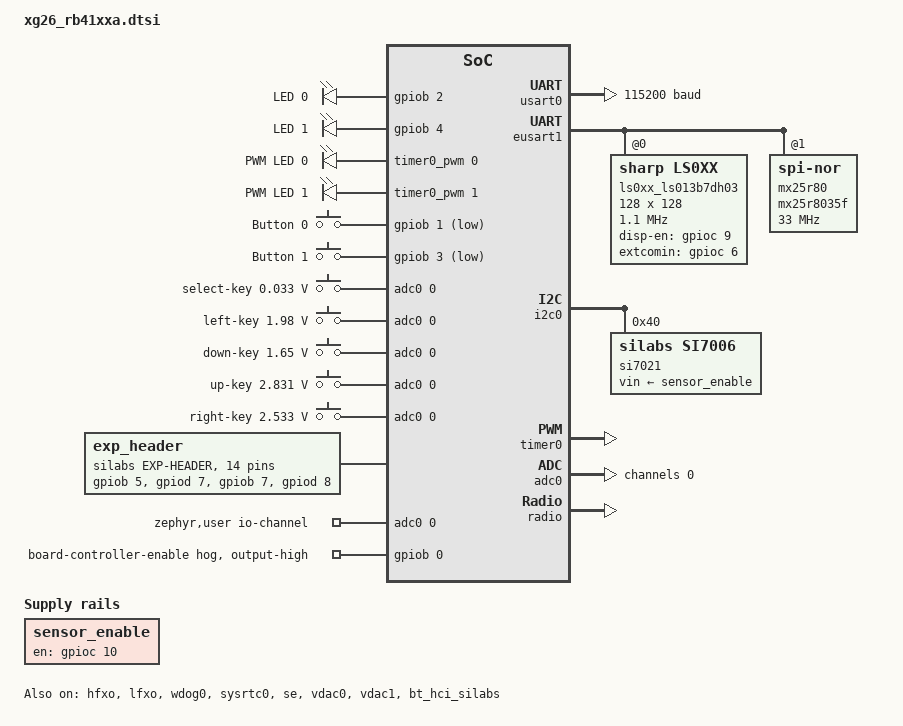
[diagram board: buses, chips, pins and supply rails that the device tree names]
/*
 * Copyright (c) 2025 Silicon Laboratories Inc.
 *
 * SPDX-License-Identifier: Apache-2.0
 */

#include <zephyr/dt-bindings/adc/silabs-adc.h>
#include <zephyr/dt-bindings/input/input-event-codes.h>
#include <zephyr/dt-bindings/pwm/pwm.h>
#include <zephyr/dt-bindings/regulator/silabs_dcdc.h>
#include "xg26_rb41xxa-pinctrl.dtsi"

/ {
	chosen {
		zephyr,bt-hci = &bt_hci_silabs;
		zephyr,code-partition = &slot0_partition;
		zephyr,console = &usart0;
		zephyr,display = &ls0xx_ls013b7dh03;
		zephyr,flash = &flash0;
		zephyr,shell-uart = &usart0;
		zephyr,sram = &sram0;
		zephyr,uart-pipe = &usart0;
	};

	aliases {
		dht0 = &si7021;
		led0 = &led0;
		led1 = &led1;
		pwm-led0 = &pwm_led0;
		pwm-led1 = &pwm_led1;
		spi-flash0 = &mx25r80;
		sw0 = &button0;
		sw1 = &button1;
		watchdog0 = &wdog0;
	};

	leds {
		compatible = "gpio-leds";

		led0: led_0 {
			gpios = <&gpiob 2 GPIO_ACTIVE_HIGH>;
			label = "LED 0";
		};

		led1: led_1 {
			gpios = <&gpiob 4 GPIO_ACTIVE_HIGH>;
			label = "LED 1";
		};
	};

	pwmleds {
		compatible = "pwm-leds";

		pwm_led0: pwm_led_0 {
			pwms = <&timer0_pwm 0 PWM_MSEC(20) PWM_POLARITY_NORMAL>;
			label = "PWM LED 0";
		};

		pwm_led1: pwm_led_1 {
			pwms = <&timer0_pwm 1 PWM_MSEC(20) PWM_POLARITY_NORMAL>;
			label = "PWM LED 1";
		};
	};

	buttons {
		compatible = "gpio-keys";

		button0: button_0 {
			gpios = <&gpiob 1 GPIO_ACTIVE_LOW>;
			label = "Button 0";
			zephyr,code = <INPUT_KEY_0>;
		};

		button1: button_1 {
			gpios = <&gpiob 3 GPIO_ACTIVE_LOW>;
			label = "Button 1";
			zephyr,code = <INPUT_KEY_1>;
		};
	};

	joystick {
		compatible = "adc-keys";
		io-channels = <&adc0 0>;
		keyup-threshold-mv = <3300>;

		select-key {
			press-thresholds-mv = <33>;
			zephyr,code = <INPUT_KEY_ENTER>;
		};

		left-key {
			press-thresholds-mv = <1980>;
			zephyr,code = <INPUT_KEY_LEFT>;
		};

		down-key {
			press-thresholds-mv = <1650>;
			zephyr,code = <INPUT_KEY_DOWN>;
		};

		up-key {
			press-thresholds-mv = <2831>;
			zephyr,code = <INPUT_KEY_UP>;
		};

		right-key {
			press-thresholds-mv = <2533>;
			zephyr,code = <INPUT_KEY_RIGHT>;
		};
	};

	sensor_enable: sensor_enable {
		compatible = "regulator-fixed";
		enable-gpios = <&gpioc 10 GPIO_ACTIVE_HIGH>;
		regulator-name = "sensor_enable";
	};

	exp_header: exp-header {
		compatible = "silabs,exp-header";
		#gpio-cells = <2>;
		gpio-map = <3 0 &gpiob 5 0>,
			   <4 0 &gpiod 7 0>,
			   <5 0 &gpiob 7 0>,
			   <6 0 &gpiod 8 0>,
			   <7 0 &gpiob 6 0>,
			   <8 0 &gpiod 9 0>,
			   <9 0 &gpiob 8 0>,
			   <10 0 &gpiod 10 0>,
			   <11 0 &gpiod 2 0>,
			   <12 0 &gpioc 12 0>,
			   <13 0 &gpiod 3 0>,
			   <14 0 &gpioc 13 0>,
			   <15 0 &gpioc 5 0>,
			   <16 0 &gpioc 7 0>;
		gpio-map-mask = <0xffffffff 0x0>;
		gpio-map-pass-thru = <0x0 GPIO_DT_FLAGS_MASK>;
	};

	zephyr,user {
		io-channels = <&adc0 0>;
	};
};

&cpu0 {
	clock-frequency = <DT_FREQ_M(78)>;
};

&itm {
	pinctrl-0 = <&itm_default>;
	pinctrl-names = "default";
	swo-ref-frequency = <DT_FREQ_M(78)>;
};

&hfxo {
	ctune = <140>;
	precision = <50>;
	status = "okay";
};

&lfxo {
	ctune = <63>;
	precision = <50>;
	status = "okay";
};

&hfrcodpll {
	clock-frequency = <DT_FREQ_M(78)>;
	clocks = <&hfxo>;
	dpll-autorecover;
	dpll-edge = "fall";
	dpll-lock = "phase";
	dpll-m = <1919>;
	dpll-n = <3839>;
};

&em23grpaclk {
	clocks = <&lfxo>;
};

&em4grpaclk {
	clocks = <&lfxo>;
};

&sysrtcclk {
	clocks = <&lfxo>;
};

&wdog0clk {
	clocks = <&lfxo>;
};

&wdog1clk {
	clocks = <&lfxo>;
};

&usart0 {
	current-speed = <115200>;
	pinctrl-0 = <&usart0_default>;
	pinctrl-names = "default";
	status = "okay";
};

&usart1 {
	current-speed = <115200>;
	pinctrl-0 = <&usart1_default>;
	pinctrl-names = "default";
	status = "disabled";
};

&eusart1 {
	compatible = "silabs,eusart-spi";
	#address-cells = <1>;
	#size-cells = <0>;
	clock-frequency = <DT_FREQ_M(10)>;
	pinctrl-0 = <&eusart1_default>;
	pinctrl-names = "default";
	status = "okay";

	cs-gpios = <&gpioc 8 GPIO_ACTIVE_HIGH>, <&gpioc 4 GPIO_ACTIVE_LOW>;

	ls0xx_ls013b7dh03: ls0xx@0 {
		compatible = "sharp,ls0xx";
		reg = <0>;
		disp-en-gpios = <&gpioc 9 GPIO_ACTIVE_HIGH>;
		extcomin-gpios = <&gpioc 6 GPIO_ACTIVE_HIGH>;
		extcomin-frequency = <60>;
		height = <128>;
		spi-max-frequency = <DT_FREQ_K(1100)>;
		width = <128>;
	};

	mx25r80: mx25r8035f@1 {
		compatible = "jedec,spi-nor";
		reg = <1>;
		dpd-wakeup-sequence = <30000 20 35000>;
		has-dpd;
		jedec-id = [c2 28 14];
		mxicy,mx25r-power-mode = "low-power";
		size = <0x800000>;
		spi-max-frequency = <DT_FREQ_M(33)>;
		t-enter-dpd = <0>;
		zephyr,pm-device-runtime-auto;
	};
};

&eusart2 {
	compatible = "silabs,eusart-spi";
	#address-cells = <1>;
	#size-cells = <0>;
	clock-frequency = <DT_FREQ_M(10)>;
	cs-gpios = <&gpiod 10 GPIO_ACTIVE_LOW>;
	pinctrl-0 = <&eusart2_default>;
	pinctrl-names = "default";
	status = "disabled";
};

&i2c0 {
	pinctrl-0 = <&i2c0_default>;
	pinctrl-names = "default";
	status = "okay";

	si7021: si7021@40 {
		compatible = "silabs,si7006";
		reg = <0x40>;
		vin-supply = <&sensor_enable>;
	};
};

&timer0 {
	status = "okay";

	timer0_pwm: pwm {
		pinctrl-0 = <&timer0_default>;
		pinctrl-names = "default";
		status = "okay";
	};
};

&adc0 {
	pinctrl-0 = <&iadc0_default>;
	pinctrl-names = "default";
	#address-cells = <1>;
	#size-cells = <0>;
	status = "okay";

	channel@0 {
		reg = <0>;
		zephyr,acquisition-time = <ADC_ACQ_TIME_DEFAULT>;
		zephyr,gain = "ADC_GAIN_1";
		zephyr,input-positive = <IADC_INPUT_PC11>;
		zephyr,reference = "ADC_REF_VDD_1";
		zephyr,resolution = <12>;
		zephyr,vref-mv = <3300>;
	};
};

&gpio {
	status = "okay";
};

&gpioa {
	status = "okay";
};

&gpiob {
	status = "okay";

	board-controller-enable {
		gpio-hog;
		gpios = <0 GPIO_ACTIVE_HIGH>;
		output-high;
	};
};

&gpioc {
	status = "okay";
};

&gpiod {
	status = "okay";
};

&wdog0 {
	status = "okay";
};

&sysrtc0 {
	status = "okay";
};

&se {
	status = "okay";
};

&dcdc {
	regulator-boot-on;
	regulator-initial-mode = <SILABS_DCDC_MODE_BUCK>;
	silabs,pfmx-peak-current-milliamp = <100>;
	status = "okay";
};

&vdac0 {
	status = "okay";
};

&vdac1 {
	status = "okay";
};

&radio {
	pa-voltage-mv = <1800>;
};

&bt_hci_silabs {
	status = "okay";
};

&flash0 {
	partitions {
		compatible = "fixed-partitions";
		#address-cells = <1>;
		#size-cells = <1>;

		/* Reserve 48 KiB for the bootloader */
		boot_partition: partition@0 {
			reg = <0x00000000 DT_SIZE_K(48)>;
			label = "mcuboot";
			read-only;
		};

		/* Reserve 1560 KiB for the application in slot 0 */
		slot0_partition: partition@c000 {
			reg = <0x0000c000 DT_SIZE_K(1560)>;
			label = "image-0";
		};

		/* Reserve 1560 KiB for the application in slot 1 */
		slot1_partition: partition@192000 {
			reg = <0x00192000 DT_SIZE_K(1560)>;
			label = "image-1";
		};

		/* Set 32 KiB of storage at the end of the 3200 KiB of flash */
		storage_partition: partition@318000 {
			reg = <0x00318000 DT_SIZE_K(32)>;
			label = "storage";
		};
	};
};
